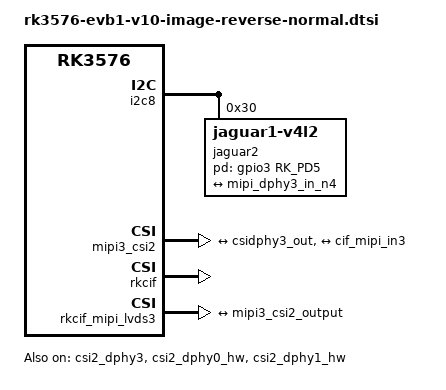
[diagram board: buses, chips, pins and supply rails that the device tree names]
// SPDX-License-Identifier: (GPL-2.0+ OR MIT)
/*
 * Copyright (c) 2024 Rockchip Electronics Co., Ltd.
 *
 */

&csi2_dphy3 {
	status = "okay";

	ports {
		#address-cells = <1>;
		#size-cells = <0>;
		port@0 {
			reg = <0>;
			#address-cells = <1>;
			#size-cells = <0>;

			mipi_dphy3_in_n4: endpoint@1 {
				reg = <1>;
				remote-endpoint = <&n4_out2>;
				data-lanes = <1 2 3 4>;
			};
		};
		port@1 {
			reg = <1>;
			#address-cells = <1>;
			#size-cells = <0>;

			csidphy3_out: endpoint@0 {
				reg = <0>;
				remote-endpoint = <&mipi3_csi2_input>;
			};
		};
	};
};

&csi2_dphy0_hw {
	status = "okay";
};

&csi2_dphy1_hw {
	status = "okay";
};

&i2c8 {
	status = "okay";
	pinctrl-names = "default";
	pinctrl-0 = <&i2c8m2_xfer>;

	jaguar2: jaguar2@30 {
		compatible = "jaguar1-v4l2";
		status = "okay";
		reg = <0x30>;
		clocks = <&cru CLK_MIPI_CAMERAOUT_M2>;
		clock-names = "xvclk";
		power-domains = <&power RK3576_PD_VI>;
		pinctrl-names = "default";
		pinctrl-0 = <&cam_clk2m0_clk2>;
		pd-gpios = <&gpio3 RK_PD5 GPIO_ACTIVE_HIGH>;
		//avdd-supply = <&vcc_mipicsi1>;
		rockchip,camera-module-index = <0>;
		rockchip,camera-module-facing = "back";
		rockchip,camera-module-name = "default";
		rockchip,camera-module-lens-name = "default";
		rockchip,default_rect= <1920 1080>; // default resolution

		port {
			n4_out2: endpoint {
				remote-endpoint = <&mipi_dphy3_in_n4>;
				data-lanes = <1 2 3 4>;
			};
		};
	};
};

&mipi3_csi2 {
	status = "okay";

	ports {
		#address-cells = <1>;
		#size-cells = <0>;

		port@0 {
			reg = <0>;
			#address-cells = <1>;
			#size-cells = <0>;

			mipi3_csi2_input: endpoint@1 {
				reg = <1>;
				remote-endpoint = <&csidphy3_out>;
			};
		};

		port@1 {
			reg = <1>;
			#address-cells = <1>;
			#size-cells = <0>;

			mipi3_csi2_output: endpoint@0 {
				reg = <0>;
				remote-endpoint = <&cif_mipi_in3>;
			};
		};
	};
};

&rkcif {
	status = "okay";
	rockchip,android-usb-camerahal-enable;
};

&rkcif_mipi_lvds3 {
	status = "okay";

	port {
		cif_mipi_in3: endpoint {
			remote-endpoint = <&mipi3_csi2_output>;
		};
	};
};

&rkcif_mmu {
	status = "okay";
};

&vcc_mipicsi1 {
	regulator-boot-on;
	regulator-always-on;
};
